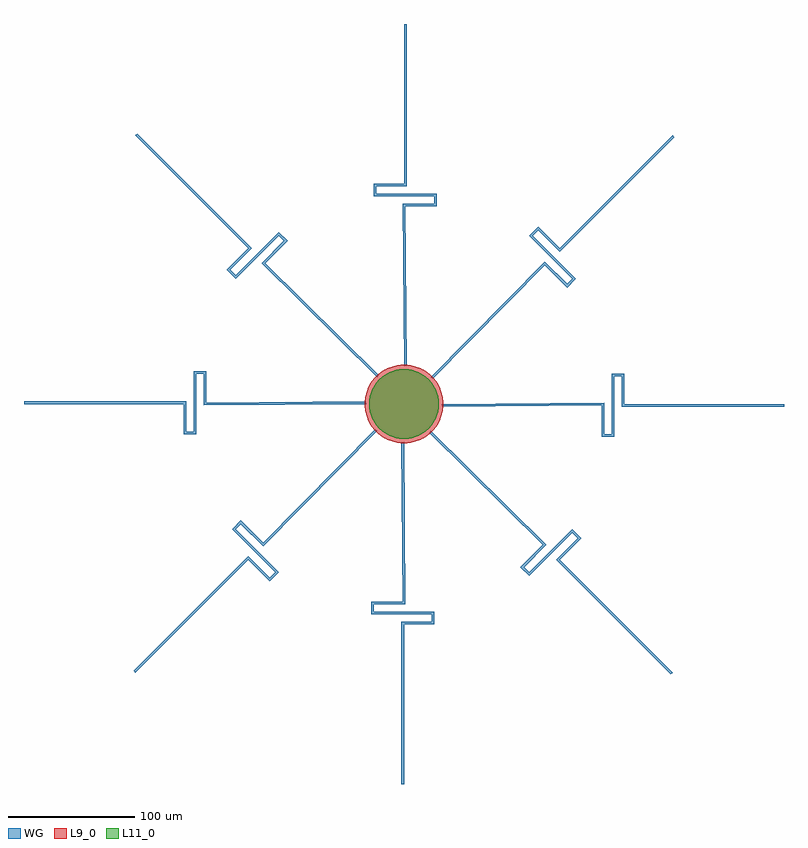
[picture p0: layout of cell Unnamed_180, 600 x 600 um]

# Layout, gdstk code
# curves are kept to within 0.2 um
from math import pi, radians
import gdstk
lib = gdstk.Library(unit=1e-6, precision=1e-09)
def P(c, l, *ps):  # polygons
    for p in ps: c.add(gdstk.Polygon(p, *l))
WG = (1, 0)
L9_0 = (9, 0)
L11_0 = (11, 0)

circle_r31_ar2p5_l9_0 = lib.new_cell('circle_R31_AR2p5_L9_0')
P(circle_r31_ar2p5_l9_0, L9_0, [(0,-31),(-5.383,-30.529),(-11.863,-28.64),(-17.781,-25.394),(-21.92,-21.92),(-25.394,-17.781),(-28.64,-11.863),(-30.529,-5.383),(-31,0),(-30.529,5.383),(-28.64,11.863),(-25.394,17.781),(-21.92,21.92),(-17.781,25.394),(-11.863,28.64),(-5.383,30.529),(0,31),(5.383,30.529),(11.863,28.64),(17.781,25.394),(21.92,21.92),(25.394,17.781),(28.64,11.863),(30.529,5.383),(31,0),(30.529,-5.383),(28.64,-11.863),(25.394,-17.781),(21.92,-21.92),(17.781,-25.394),(11.863,-28.64),(5.383,-30.529)])

unnamed_181 = lib.new_cell('Unnamed_181')
P(unnamed_181, WG, [(0,29.992),(-1.008,158),(24,158),(24,164),(-24,164),(-24,174),(0,174),(0,300),(2,300),(2,172),(-22,172),(-22,166),(26,166),(26,156),(1.008,156),(2,30.008)])

circle_r27p5_ar2p5_l11_0 = lib.new_cell('circle_R27p5_AR2p5_L11_0')
P(circle_r27p5_ar2p5_l11_0, L11_0, [(0,-27.5),(-5.952,-26.848),(-10.524,-25.407),(-15.773,-22.527),(-19.445,-19.445),(-22.527,-15.773),(-25.407,-10.524),(-26.848,-5.952),(-27.5,0),(-26.848,5.952),(-25.407,10.524),(-22.527,15.773),(-19.445,19.445),(-15.773,22.527),(-10.524,25.407),(-5.952,26.848),(0,27.5),(5.952,26.848),(10.524,25.407),(15.773,22.527),(19.445,19.445),(22.527,15.773),(25.407,10.524),(26.848,5.952),(27.5,0),(26.848,-5.952),(25.407,-10.524),(22.527,-15.773),(19.445,-19.445),(15.773,-22.527),(10.524,-25.407),(5.952,-26.848)])

unnamed_180 = lib.new_cell('Unnamed_180')
unnamed_180.add(gdstk.Reference(circle_r31_ar2p5_l9_0, (0,0)))
unnamed_180.add(gdstk.Reference(unnamed_181, (0,0), rotation=radians(315)))
unnamed_180.add(gdstk.Reference(unnamed_181, (0,0), rotation=3*pi/2))
unnamed_180.add(gdstk.Reference(unnamed_181, (0,0), rotation=radians(225)))
unnamed_180.add(gdstk.Reference(unnamed_181, (0,0), rotation=pi))
unnamed_180.add(gdstk.Reference(unnamed_181, (0,0)))
unnamed_180.add(gdstk.Reference(unnamed_181, (0,0), rotation=radians(135)))
unnamed_180.add(gdstk.Reference(circle_r27p5_ar2p5_l11_0, (0,0)))
unnamed_180.add(gdstk.Reference(unnamed_181, (0,0), rotation=pi/2))
unnamed_180.add(gdstk.Reference(unnamed_181, (0,0), rotation=radians(45)))

lib.write_gds('Unnamed_180.gds')
